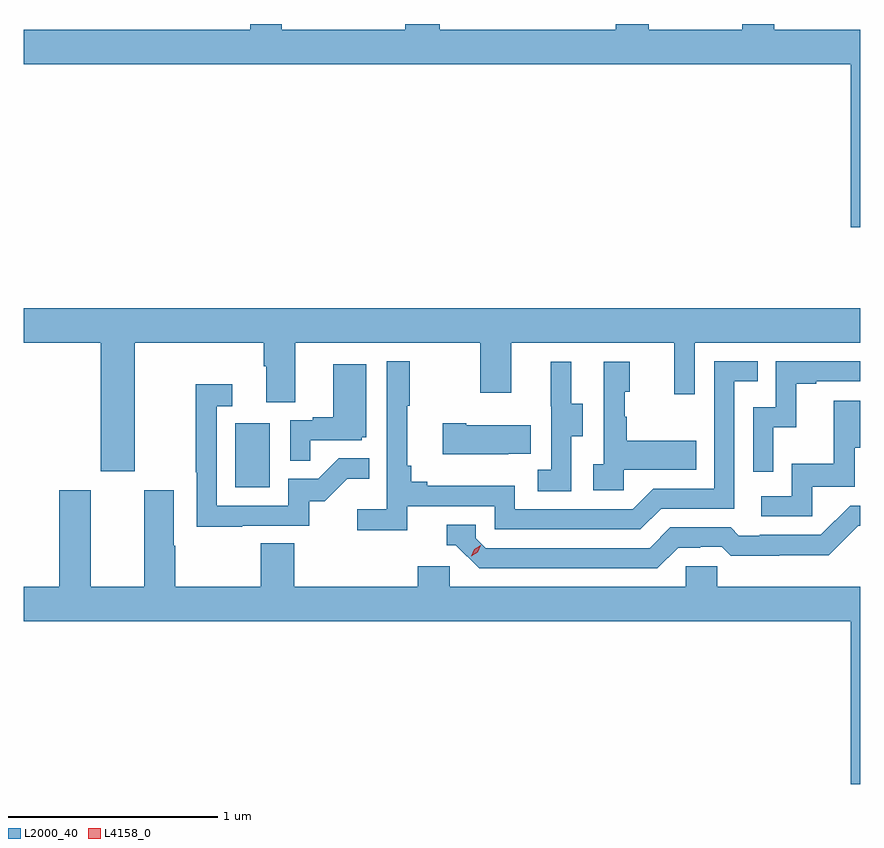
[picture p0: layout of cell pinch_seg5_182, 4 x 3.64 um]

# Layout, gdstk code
import gdstk
lib = gdstk.Library(unit=1e-6, precision=1e-09)
def R(c, l, rs):  # rectangles x0, y0, x1, y1
    for r in rs: c.add(gdstk.rectangle(r[:2], r[2:], *l))
def P(c, l, *ps):  # polygons
    for p in ps: c.add(gdstk.Polygon(p, *l))
L2000_40 = (2000, 40)
L4158_0 = (4158, 0)

pinch_seg5_182 = lib.new_cell('pinch_seg5_182')
R(pinch_seg5_182, L2000_40, [(1117.034,874.716,1117.198,875.023)])
P(pinch_seg5_182, L2000_40, [(1120.022,876.904),(1119.612,876.904),(1119.612,876.932),(1119.457,876.932),(1119.457,876.904),(1119.012,876.904),(1119.012,876.932),(1118.852,876.932),(1118.852,876.904),(1118.012,876.904),(1118.012,876.932),(1117.847,876.932),(1117.847,876.904),(1117.256,876.904),(1117.256,876.932),(1117.104,876.932),(1117.104,876.904),(1116.022,876.904),(1116.022,876.74),(1119.977,876.74),(1119.977,875.961),(1120.022,875.961)],
  [(1116.022,875.408),(1116.389,875.408),(1116.389,874.794),(1116.553,874.794),(1116.553,875.408),(1117.169,875.408),(1117.169,875.296),(1117.181,875.296),(1117.181,875.122),(1117.321,875.122),(1117.321,875.408),(1118.206,875.408),(1118.206,875.169),(1118.353,875.169),(1118.353,875.408),(1119.134,875.408),(1119.134,875.16),(1119.231,875.16),(1119.231,875.408),(1120.022,875.408),(1120.022,875.572),(1116.022,875.572)],
  [(1117.856,874.626),(1118.274,874.626),(1118.274,874.515),(1118.971,874.515),(1119.07,874.614),(1119.42,874.614),(1119.42,875.223),(1119.533,875.223),(1119.533,875.319),(1119.324,875.319),(1119.324,874.71),(1119.033,874.71),(1118.934,874.611),(1118.37,874.611),(1118.37,874.723),(1117.951,874.723),(1117.951,874.742),(1117.874,874.742),(1117.874,874.819),(1117.855,874.819),(1117.855,875.107),(1117.867,875.107),(1117.867,875.32),(1117.758,875.32),(1117.758,874.612),(1117.617,874.612),(1117.617,874.51),(1117.856,874.51)],
  [(1119.606,875.003),(1119.716,875.003),(1119.716,875.211),(1119.811,875.211),(1119.811,875.223),(1120.022,875.223),(1120.022,875.319),(1119.618,875.319),(1119.618,875.1),(1119.51,875.1),(1119.51,874.791),(1119.606,874.791)],
  [(1118.64,874.96),(1118.695,874.96),(1118.695,875.115),(1118.641,875.115),(1118.641,875.317),(1118.543,875.317),(1118.543,875.103),(1118.544,875.103),(1118.544,874.799),(1118.481,874.799),(1118.481,874.696),(1118.64,874.696)],
  [(1118.892,874.799),(1119.239,874.799),(1119.239,874.939),(1118.905,874.939),(1118.905,875.054),(1118.895,875.054),(1118.895,875.172),(1118.92,875.172),(1118.92,875.317),(1118.796,875.317),(1118.796,874.826),(1118.745,874.826),(1118.745,874.701),(1118.892,874.701)],
  [(1117.391,874.941),(1117.638,874.941),(1117.638,874.956),(1117.66,874.956),(1117.66,875.305),(1117.502,875.305),(1117.502,875.05),(1117.403,875.05),(1117.403,875.037),(1117.296,875.037),(1117.296,874.843),(1117.391,874.843)],
  [(1117.067,874.533),(1117.386,874.533),(1117.386,874.65),(1117.462,874.65),(1117.569,874.757),(1117.673,874.757),(1117.673,874.856),(1117.529,874.856),(1117.431,874.758),(1117.287,874.758),(1117.287,874.629),(1116.945,874.629),(1116.945,875.103),(1117.018,875.103),(1117.018,875.209),(1116.844,875.209),(1116.844,874.789),(1116.849,874.789),(1116.849,874.528),(1117.067,874.528)],
  [(1119.792,874.719),(1119.997,874.719),(1119.997,874.905),(1120.022,874.905),(1120.022,875.131),(1119.895,875.131),(1119.895,874.828),(1119.696,874.828),(1119.696,874.674),(1119.549,874.674),(1119.549,874.578),(1119.792,874.578)],
  [(1118.339,874.877),(1118.447,874.877),(1118.447,875.014),(1118.137,875.014),(1118.137,875.022),(1118.025,875.022),(1118.025,874.874),(1118.339,874.874)],
  [(1120.022,874.24),(1119.339,874.24),(1119.339,874.338),(1119.189,874.338),(1119.189,874.24),(1118.058,874.24),(1118.058,874.338),(1117.907,874.338),(1117.907,874.24),(1117.316,874.24),(1117.316,874.448),(1117.156,874.448),(1117.156,874.24),(1116.747,874.24),(1116.747,874.436),(1116.739,874.436),(1116.739,874.702),(1116.599,874.702),(1116.599,874.24),(1116.343,874.24),(1116.343,874.702),(1116.191,874.702),(1116.191,874.24),(1116.022,874.24),(1116.022,874.076),(1119.977,874.076),(1119.977,873.297),(1120.022,873.297)],
  [(1119.151,874.428),(1119.258,874.428),(1119.258,874.431),(1119.361,874.431),(1119.403,874.389),(1119.636,874.389),(1119.636,874.391),(1119.872,874.391),(1120.014,874.533),(1120.022,874.533),(1120.022,874.629),(1119.975,874.629),(1119.834,874.488),(1119.541,874.488),(1119.541,874.485),(1119.442,874.485),(1119.403,874.524),(1119.114,874.524),(1119.015,874.425),(1118.232,874.425),(1118.184,874.473),(1118.184,874.536),(1118.045,874.536),(1118.045,874.44),(1118.088,874.44),(1118.199,874.329),(1119.052,874.329)])
P(pinch_seg5_182, L4158_0, [(1118.162,874.386),(1118.162,874.387),(1118.177,874.42),(1118.207,874.44),(1118.207,874.44),(1118.207,874.439),(1118.192,874.406),(1118.162,874.386)])

lib.write_gds('pinch_seg5_182.gds')
